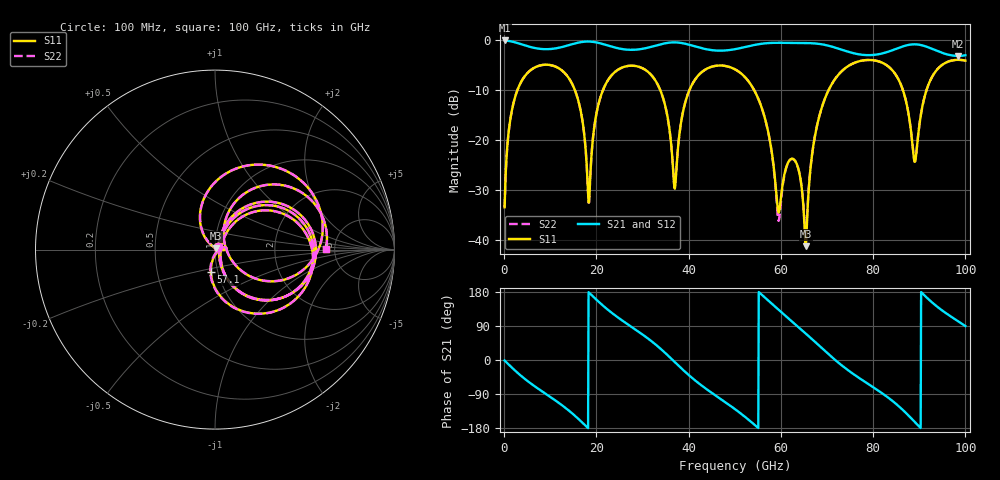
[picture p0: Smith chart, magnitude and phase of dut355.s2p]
! Touchstone file exported from HFSS 2026.1.0
!  File:  C:/ffzhzh/LocalFiles/Ansys_Project_Files/temp_train_TSV_RDL_355_1783709285_44652.aedt
!  Generated:  02:55:55 AM Jul 11, 2026
!  Design:  TSV_RDL
!  Project:  temp_train_TSV_RDL_355_1783709285_44652
! Variables:
!  h_bsmrdl = 4.76um
!  h_ox = 20um
!  h_rdl = 5um
!  h_sub = 52.6um
!  h_tmrdl = 2.5um
!  h_tsv = 52.6um
!  h_via = 3um
!  l_bsmrdl = 364.28um
!  l_sub = 3571.22um
!  l_tmrdl = 484.33um
!  m_sub = 200um
!  pitch = 53.77um
!  r_tsv = 5.28um
!  s_tmrdl = 10um
!  w_bsmrdl = 17.83um
!  w_sub = 500um
!  w_tmrdl = 29.19um
!  x_tsv_center1 = 498.925um
!  x_tsv_center2 = 881.035um
!  x_tsv_center3 = 1394.555um
!  x_tsv_center4 = 1776.665um
!  x_tsv_center5 = 2290.185um
!  x_tsv_center6 = 2672.295um
# GHz S MA R 50.000000
! Terminal data exported
! Port[1] = TM_RDL1_1_T1
! Port[2] = TM_RDL5_1_T1
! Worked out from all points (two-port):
!   1000 points, 100 MHz to 100 GHz, reference 50 ohm
!   highest |S21| = -0.15 dB at 100 MHz (marker M1); lowest = -3.2 dB at 98.4 GHz (marker M2)
!   |S21| within 3 dB of the highest: start of sweep to 97.15 GHz; 99.70654 GHz to end of sweep
!   lowest |S11| = -41.3 dB at 65.4 GHz (marker M3), VSWR 1.02, Z = 50.3 + j0.805 ohm
!   |S11| at or under -10 dB: 15.31 GHz to 21.45 GHz (6.144 GHz wide, 33.4 % of centre); 33.81 GHz to 40.2 GHz (6.387 GHz wide, 17.3 % of centre); 54.16 GHz to 70.38 GHz (16.22 GHz wide, 26 % of centre) (the widest 3 of 5)
!   |S22| runs from -39.1 to -4.0 dB; largest |S21 - S12| = 1.2e-12
!   S11 on the Smith chart (normalised r, x): 100 MHz: 1.03, +0.03; 57.1 GHz: 0.93, -0.24; 100 GHz: 4.24, +0.06
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0.1  0.02114 37.3  0.9834 -1.3  0.9834 -1.3  0.02114 37.3
! Gamma 0 0 0 0
! Port Impedance 50 0 50 0
1.8  0.2097 62.6  0.9563 -21.5  0.9563 -21.5  0.2097 62.6
5.3  0.4772 29.8  0.8557 -57.6  0.8557 -57.6  0.4772 29.8
12.2  0.5062 -26.6  0.8379 -116.3  0.8379 -116.3  0.5062 -26.6
16.8  0.1732 -67.6  0.9486 -163.4  0.9486 -163.4  0.1732 -67.7
18.4  0.02372 10.3  0.9591 177.8  0.9591 177.8  0.02358 10.4
22.8  0.4127 36.2  0.8666 129.5  0.8666 129.5  0.4127 36.2
33.4  0.3485 -51.8  0.8873 35.1  0.8873 35.1  0.3484 -51.7
37  0.03253 -3.6  0.9409 -5.4  0.9409 -5.4  0.03293 -3.5
41  0.3747 35.6  0.8678 -49.9  0.8678 -49.9  0.3748 35.5
50.1  0.5045 -39.1  0.8052 -130.2  0.8052 -130.2  0.5044 -39.3
57.1  0.129 -100.2  0.9245 158.7  0.9245 158.7  0.1283 -101.6
59.4  0.01938 -56.3  0.932 133.7  0.932 133.7  0.01612 -58.2
62.8  0.06376 2.8  0.9284 97.5  0.9284 97.5  0.06351 5.5
65.4  0.008647 67.7  0.9268 69.7  0.9268 69.7  0.01114 68.9
66.7  0.06757 131.4  0.9225 55.5  0.9225 55.5  0.06829 129.7
72.4  0.4434 79.3  0.8162 -6.4  0.8162 -6.4  0.4436 79.3
83.4  0.5355 -8.0  0.7626 -100.6  0.7626 -100.6  0.5356 -7.9
89  0.0602 11.8  0.8998 -163.2  0.8998 -163.2  0.06075 12.1
92.4  0.3933 58.6  0.8237 155.9  0.8237 155.9  0.3935 58.6
98.4  0.6296 11.1  0.6889 102.4  0.6889 102.4  0.6298 11.2
100  0.6184 0.4  0.7001 89.5  0.7001 89.5  0.6186 0.5
